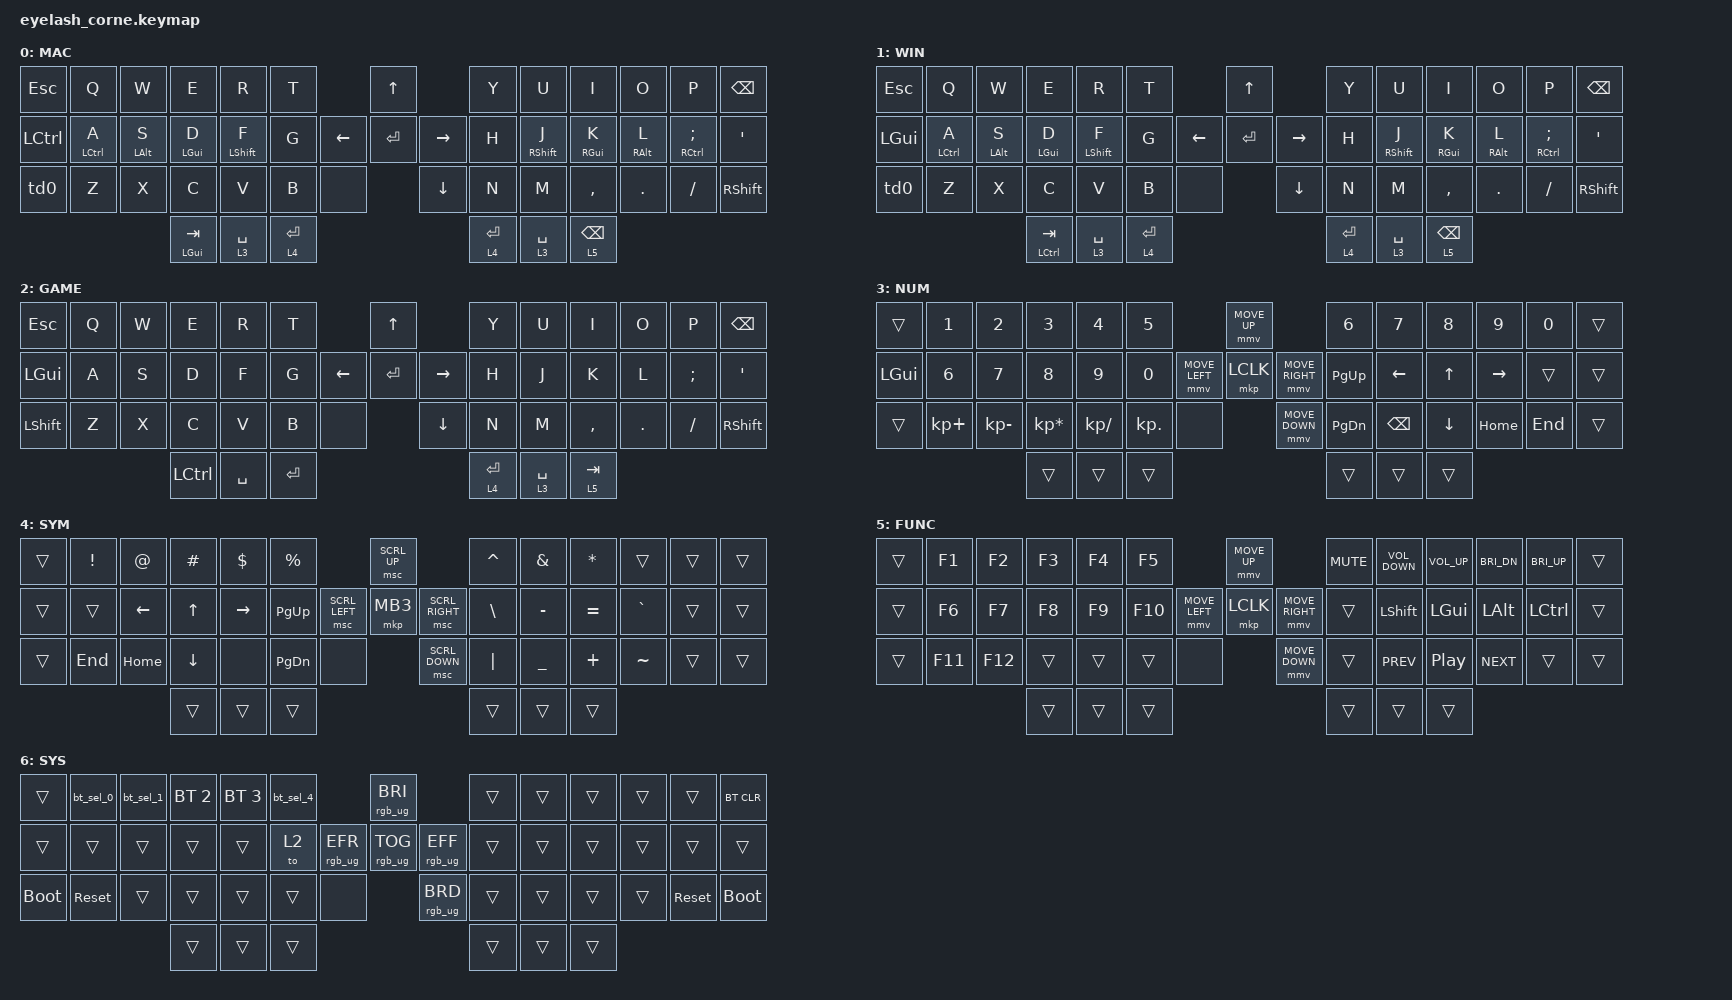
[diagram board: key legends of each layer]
#define ZMK_POINTING_DEFAULT_MOVE_VAL 1200  // 600
#define ZMK_POINTING_DEFAULT_SCRL_VAL 25   // 10

#include <input/processors.dtsi>
#include <zephyr/dt-bindings/input/input-event-codes.h>
#include <behaviors.dtsi>
#include <dt-bindings/zmk/bt.h>
#include <dt-bindings/zmk/keys.h>
#include <dt-bindings/zmk/pointing.h>
#include <dt-bindings/zmk/rgb.h>

/ {
    behaviors {
        td0: td0 {
            compatible = "zmk,behavior-tap-dance";
            display-name = "Shift/Caps Lock Tap Dance";
            #binding-cells = <0>;
            bindings = <&kp LEFT_SHIFT>, <&kp CAPS>;
        };

        hml: homerow_mods_left {
            compatible = "zmk,behavior-hold-tap";
            label = "homerow_mods_left";
            bindings = <&kp>, <&kp>;

            #binding-cells = <2>;
            tapping-term-ms = <220>;
            flavor = "balanced";
            quick-tap-ms = <175>;
            require-prior-idle-ms = <125>;
            hold-trigger-on-release;
            hold-trigger-key-positions = <6 19 20 21 35 7 8 9 10 11 12 22 23 24 25 26 27 36 37 38 39 40 41 45 46 47>;
        };

        hmr: homerow_mods_right {
            compatible = "zmk,behavior-hold-tap";
            label = "homerow_mods_right";
            bindings = <&kp>, <&kp>;

            #binding-cells = <2>;
            tapping-term-ms = <220>;
            flavor = "balanced";
            quick-tap-ms = <175>;
            require-prior-idle-ms = <125>;
            hold-trigger-on-release;
            hold-trigger-key-positions = <0 1 2 3 4 5 6 19 20 21 35 13 14 15 16 17 18 28 29 30 31 32 33 34 42 43 44>;
        };
    };

    macros {
        bt_sel_0: bt_sel_0 {
            compatible = "zmk,behavior-macro";
            #binding-cells = <0>;
            bindings = <&bt BT_SEL 0 &to 0>;
        };

        bt_sel_1: bt_sel_1 {
            compatible = "zmk,behavior-macro";
            #binding-cells = <0>;
            bindings = <&bt BT_SEL 1 &to 1>;
        };

        bt_sel_4: bt_sel_4 {
            compatible = "zmk,behavior-macro";
            #binding-cells = <0>;
            bindings = <&bt BT_SEL 4 &to 0>;
        };
    };

    combos {
        compatible = "zmk,combos";

        par_l {
            bindings = <&kp LPAR>;
            key-positions = <17 18>;
            layers = <0 1 2>;
        };

        par_r {
            bindings = <&kp RPAR>;
            key-positions = <23 22>;
            layers = <0 1 2>;
        };

        bkt_l {
            bindings = <&kp LEFT_BRACKET>;
            key-positions = <4 5>;
            layers = <0 1 2>;
        };

        bkt_r {
            bindings = <&kp RBKT>;
            key-positions = <7 8>;
            layers = <0 1 2>;
        };

        brc_l {
            bindings = <&kp LBRC>;
            key-positions = <33 32>;
            layers = <0 1 2>;
        };

        brc_r {
            bindings = <&kp RBRC>;
            key-positions = <36 37>;
            layers = <0 1 2>;
        };

        del_l {
            bindings = <&kp DEL>;
            key-positions = <29 30>;
            layers = <0 1 2>;
        };

        del_r {
            bindings = <&kp DEL>;
            key-positions = <39 40>;
            layers = <0 3 1>;
        };

        bksp_l {
            bindings = <&kp BACKSPACE>;
            key-positions = <31 30>;
            layers = <1 0 2>;
        };

        to_win {
            bindings = <&to 1>;
            key-positions = <45 46 47>;
            layers = <0 2>;
        };

        to_mac {
            bindings = <&to 0>;
            key-positions = <42 43 44>;
            layers = <1 2>;
        };
    };

    keymap {
        compatible = "zmk,keymap";

        qwrt_hrm_mac {
            display-name = "MAC";
            bindings = <
&kp ESC           &kp Q                &kp W            &kp E            &kp R              &kp T                           &kp UP                &kp Y        &kp U               &kp I             &kp O             &kp P                         &kp BSPC
&kp LEFT_CONTROL  &hml LEFT_CONTROL A  &hml LEFT_ALT S  &hml LEFT_GUI D  &hml LEFT_SHIFT F  &kp G                 &kp LEFT  &kp ENTER  &kp RIGHT  &kp H        &hmr RIGHT_SHIFT J  &hmr RIGHT_GUI K  &hmr RIGHT_ALT L  &hmr RIGHT_CONTROL SEMICOLON  &kp SINGLE_QUOTE
&td0              &kp Z                &kp X            &kp C            &kp V              &kp B        &none              &kp DOWN              &kp N        &kp M               &kp COMMA         &kp DOT           &kp FSLH                      &kp RIGHT_SHIFT
                                                        &mt LGUI TAB     &lt 3 SPACE        &lt 4 ENTER                                           &lt 4 ENTER  &lt 3 SPACE         &lt 5 BACKSPACE
            >;
        };

        qwrt_hrm_win {
            display-name = "WIN";
            bindings = <
&kp ESC       &kp Q                &kp W            &kp E                 &kp R              &kp T                           &kp UP                &kp Y        &kp U               &kp I             &kp O             &kp P                         &kp BSPC
&kp LEFT_GUI  &hml LEFT_CONTROL A  &hml LEFT_ALT S  &hml LEFT_GUI D       &hml LEFT_SHIFT F  &kp G                 &kp LEFT  &kp ENTER  &kp RIGHT  &kp H        &hmr RIGHT_SHIFT J  &hmr RIGHT_GUI K  &hmr RIGHT_ALT L  &hmr RIGHT_CONTROL SEMICOLON  &kp SINGLE_QUOTE
&td0          &kp Z                &kp X            &kp C                 &kp V              &kp B        &none              &kp DOWN              &kp N        &kp M               &kp COMMA         &kp DOT           &kp FSLH                      &kp RIGHT_SHIFT
                                                    &mt LEFT_CONTROL TAB  &lt 3 SPACE        &lt 4 ENTER                                           &lt 4 ENTER  &lt 3 SPACE         &lt 5 BACKSPACE
            >;
        };

        qwrt_game {
            display-name = "GAME";
            bindings = <
&kp ESC         &kp Q  &kp W  &kp E             &kp R      &kp T                         &kp UP                &kp Y        &kp U        &kp I      &kp O    &kp P          &kp BSPC
&kp LEFT_GUI    &kp A  &kp S  &kp D             &kp F      &kp G               &kp LEFT  &kp ENTER  &kp RIGHT  &kp H        &kp J        &kp K      &kp L    &kp SEMICOLON  &kp SQT
&kp LEFT_SHIFT  &kp Z  &kp X  &kp C             &kp V      &kp B      &none              &kp DOWN              &kp N        &kp M        &kp COMMA  &kp DOT  &kp FSLH       &kp RIGHT_SHIFT
                              &kp LEFT_CONTROL  &kp SPACE  &kp ENTER                                           &lt 4 ENTER  &lt 3 SPACE  &lt 5 TAB
            >;
        };

        number {
            display-name = "NUM";
            bindings = <
&trans        &kp N1       &kp N2        &kp N3           &kp N4         &kp N5                               &mmv MOVE_UP                     &kp N6     &kp N7         &kp N8    &kp N9     &kp N0   &trans
&kp LEFT_GUI  &kp N6       &kp N7        &kp N8           &kp N9         &kp N0               &mmv MOVE_LEFT  &mkp LCLK       &mmv MOVE_RIGHT  &kp PG_UP  &kp LEFT       &kp UP    &kp RIGHT  &trans   &trans
&trans        &kp KP_PLUS  &kp KP_MINUS  &kp KP_MULTIPLY  &kp KP_DIVIDE  &kp KP_DOT  &none                    &mmv MOVE_DOWN                   &kp PG_DN  &kp BACKSPACE  &kp DOWN  &kp HOME   &kp END  &trans
                                         &trans           &trans         &trans                                                                &trans     &trans         &trans
            >;
        };

        symbol {
            display-name = "SYM";
            bindings = <
&trans  &kp EXCL  &kp AT    &kp HASH  &kp DLLR   &kp PRCNT                           &msc SCRL_UP                     &kp CARET  &kp AMPS        &kp ASTRK  &trans     &trans  &trans
&trans  &trans    &kp LEFT  &kp UP    &kp RIGHT  &kp PG_UP           &msc SCRL_LEFT  &mkp MB3        &msc SCRL_RIGHT  &kp BSLH   &kp MINUS       &kp EQUAL  &kp GRAVE  &trans  &trans
&trans  &kp END   &kp HOME  &kp DOWN  &none      &kp PG_DN  &none                    &msc SCRL_DOWN                   &kp PIPE   &kp UNDERSCORE  &kp PLUS   &kp TILDE  &trans  &trans
                            &trans    &trans     &trans                                                               &trans     &trans          &trans
            >;
        };

        func {
            display-name = "FUNC";
            bindings = <
&trans  &kp F1   &kp F2   &kp F3  &kp F4  &kp F5                            &mmv MOVE_UP                     &kp C_MUTE  &kp C_VOLUME_DOWN  &kp C_VOL_UP  &kp C_BRI_DN  &kp C_BRI_UP      &trans
&trans  &kp F6   &kp F7   &kp F8  &kp F9  &kp F10           &mmv MOVE_LEFT  &mkp LCLK       &mmv MOVE_RIGHT  &trans      &kp LEFT_SHIFT     &kp LEFT_GUI  &kp LEFT_ALT  &kp LEFT_CONTROL  &trans
&trans  &kp F11  &kp F12  &trans  &trans  &trans   &none                    &mmv MOVE_DOWN                   &trans      &kp C_PREV         &kp C_PP      &kp C_NEXT    &trans            &trans
                          &trans  &trans  &trans                                                             &trans      &trans             &trans
            >;
        };

        system {
            bindings = <
&trans       &bt_sel_0   &bt_sel_1  &bt BT_SEL 2  &bt BT_SEL 3  &bt_sel_4                            &rgb_ug RGB_BRI                   &trans  &trans  &trans  &trans  &trans      &bt BT_CLR
&trans       &trans      &trans     &trans        &trans        &to 2               &rgb_ug RGB_EFR  &rgb_ug RGB_TOG  &rgb_ug RGB_EFF  &trans  &trans  &trans  &trans  &trans      &trans
&bootloader  &sys_reset  &trans     &trans        &trans        &trans     &none                     &rgb_ug RGB_BRD                   &trans  &trans  &trans  &trans  &sys_reset  &bootloader
                                    &trans        &trans        &trans                                                                 &trans  &trans  &trans
            >;

            display-name = "SYS";
        };
    };

    conditional_layers {
        compatible = "zmk,conditional-layers";

        system {
            if-layers = <3 4>;
            then-layer = <6>;
        };
    };
};
